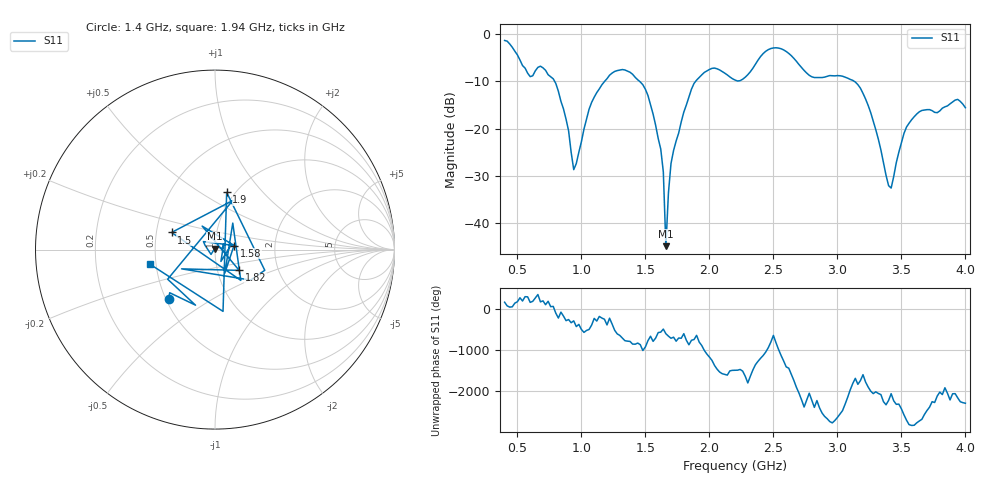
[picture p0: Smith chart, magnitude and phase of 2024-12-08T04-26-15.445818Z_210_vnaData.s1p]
!Created with skrf (http://scikit-rf.org).
# Hz S RI R 50.0
!freq ReS11 ImS11
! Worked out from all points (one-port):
!   181 points, 400 MHz to 4 GHz, reference 50 ohm
!   lowest |S11| = -44.9 dB at 1.66 GHz (marker M1), VSWR 1.01, Z = 49.7 + j0.502 ohm
!   |S11| at or under -10 dB: 790.7 MHz to 1.182 GHz (391.2 MHz wide, 39.7 % of centre); 1.454 GHz to 1.893 GHz (439.1 MHz wide, 26.2 % of centre); 3.131 GHz to end of sweep
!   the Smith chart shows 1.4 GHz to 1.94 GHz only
!   S11 on the Smith chart (normalised r, x): 1.4 GHz: 0.52, -0.33; 1.5 GHz: 0.60, +0.12; 1.58 GHz: 1.24, +0.06; 1.82 GHz: 1.27, -0.30; 1.9 GHz: 0.92, +0.65; 1.94 GHz: 0.47, -0.09
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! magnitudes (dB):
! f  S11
! 400 MHz  -1.4
! 600 MHz  -9.0
! 680 MHz  -6.8
! 780 MHz  -9.5
! 860 MHz  -15.8
! 940 MHz  -28.7
! 1.08 GHz  -14.5
! 1.3 GHz  -7.6
! 1.4 GHz  -8.5
! 1.5 GHz  -11.7
! 1.58 GHz  -19.3
! 1.64 GHz  -29.2
! 1.66 GHz  -44.9
! 1.68 GHz  -33.6
! 1.7 GHz  -27.4
! 1.76 GHz  -21.0
! 1.82 GHz  -15.0
! 1.9 GHz  -9.8
! 1.94 GHz  -8.6
! 2.2 GHz  -9.7
! 2.48 GHz  -3.1
! 2.66 GHz  -5.2
! 2.8 GHz  -9.1
! 3.1 GHz  -9.6
! 3.24 GHz  -15.1
! 3.42 GHz  -32.6
! 3.56 GHz  -18.9
! 4 GHz  -15.6
